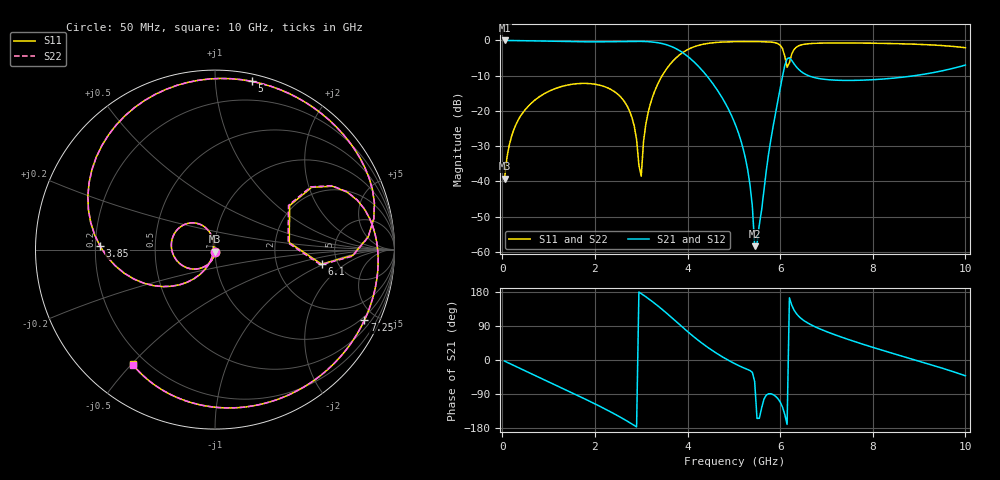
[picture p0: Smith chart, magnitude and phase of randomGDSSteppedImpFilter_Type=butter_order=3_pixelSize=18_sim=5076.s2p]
! freq	dB(S11)	phase(S11)	dB(S12)	phase(S12)
!  dB(S21)	phase(S21)	dB(S22)	phase(S22)
!S-par simulation data
#  GHz  S  DB  R 50
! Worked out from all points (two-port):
!   200 points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, 50 MHz to 10 GHz, reference 50 ohm
!   highest |S21| = -0.01 dB at 50 MHz (marker M1); lowest = -58.4 dB at 5.45 GHz (marker M2)
!   |S21| within 3 dB of the highest: start of sweep to 3.841 GHz
!   lowest |S11| = -39.2 dB at 50 MHz (marker M3), VSWR 1.02, Z = 49.9 - j1.09 ohm
!   |S11| at or under -10 dB: start of sweep to 3.453 GHz
!   |S22| runs from -39.2 to -0.3 dB; largest |S21 - S12| = 0
!   S11 on the Smith chart (normalised r, x): 50 MHz: 1.00, -0.02; 3.85 GHz: 0.22, +0.01; 5 GHz: 0.05, +1.24; 6.1 GHz: 3.73, -0.94; 7.25 GHz: 0.83, -4.29; 10 GHz: 0.15, -0.50
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0.05  -39.24 -92.6  -0.01 -3.0  -0.01 -3.0  -39.24 -92.6
0.2  -27.21 -101.6  -0.03 -11.7  -0.03 -11.7  -27.21 -101.6
0.5  -19.57 -119.9  -0.09 -29.0  -0.09 -29.0  -19.57 -119.9
1.75  -12.18 168.5  -0.39 -100.8  -0.39 -100.8  -12.18 168.5
2.65  -17.61 112.9  -0.29 -157.9  -0.29 -157.9  -17.61 113.0
2.85  -24.33 101.6  -0.26 -172.7  -0.26 -172.7  -24.33 102.0
3  -38.51 -134.6  -0.27 175.3  -0.27 175.3  -38.32 -136.0
3.1  -23.71 -111.3  -0.32 166.8  -0.32 166.8  -23.70 -111.6
3.4  -11.24 -134.6  -0.75 138.9  -0.75 138.9  -11.24 -134.7
3.85  -3.88 178.4  -3.08 91.1  -3.08 91.1  -3.87 178.4
4.45  -0.82 119.5  -10.59 32.1  -10.59 32.1  -0.82 119.5
5  -0.36 77.7  -22.82 -8.5  -22.82 -8.5  -0.36 77.7
5.05  -0.35 74.4  -24.45 -11.6  -24.45 -11.6  -0.35 74.4
5.3  -0.33 58.1  -36.75 -25.1  -36.75 -25.1  -0.33 58.1
5.45  -0.34 48.6  -58.36 -57.2  -58.36 -57.2  -0.34 48.6
5.95  -0.90 11.1  -17.14 -101.8  -17.14 -101.8  -0.91 10.9
6.1  -4.45 -7.8  -7.12 -143.8  -7.12 -143.8  -4.50 -8.2
6.3  -2.57 28.3  -6.64 131.7  -6.64 131.7  -2.59 28.7
6.7  -0.85 -0.1  -10.39 90.9  -10.39 90.9  -0.85 0.0
7.25  -0.72 -25.3  -11.30 63.6  -11.30 63.6  -0.72 -25.3
8.35  -0.87 -66.5  -10.82 20.4  -10.82 20.4  -0.87 -66.5
10  -2.08 -125.7  -6.99 -41.7  -6.99 -41.7  -2.08 -125.6
